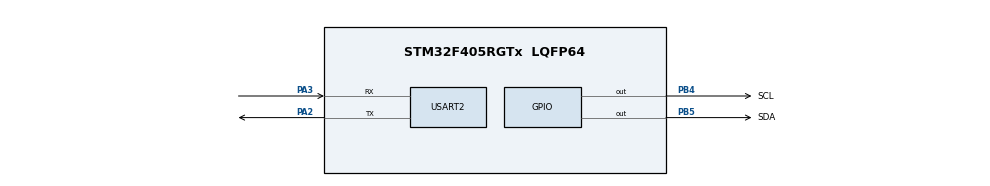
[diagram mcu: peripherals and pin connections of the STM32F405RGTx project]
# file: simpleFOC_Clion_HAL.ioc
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Mcu.Family=STM32F4
Mcu.Name=STM32F405RGTx
Mcu.Package=LQFP64
NVIC.PriorityGroup=NVIC_PRIORITYGROUP_4
NVIC.USART2_IRQn=true\:0\:0\:false\:false\:true\:true\:true\:true
PA13.Mode=Serial_Wire
PA13.Signal=SYS_JTMS-SWDIO
PA14.Mode=Serial_Wire
PA14.Signal=SYS_JTCK-SWCLK
PA2.Mode=Asynchronous
PA2.Signal=USART2_TX
PA3.Mode=Asynchronous
PA3.Signal=USART2_RX
PB4.GPIO_Label=SCL
PB4.GPIO_ModeDefaultOutputPP=GPIO_MODE_OUTPUT_PP
PB4.GPIO_PuPd=GPIO_PULLUP
PB4.GPIO_Speed=GPIO_SPEED_FREQ_VERY_HIGH
PB4.Signal=GPIO_Output
PB5.GPIO_Label=SDA
PB5.GPIO_ModeDefaultOutputPP=GPIO_MODE_OUTPUT_PP
PB5.GPIO_PuPd=GPIO_PULLUP
PB5.GPIO_Speed=GPIO_SPEED_FREQ_VERY_HIGH
PB5.Signal=GPIO_Output
PH0-OSC_IN.Mode=HSE-External-Oscillator
PH0-OSC_IN.Signal=RCC_OSC_IN
PH1-OSC_OUT.Mode=HSE-External-Oscillator
PH1-OSC_OUT.Signal=RCC_OSC_OUT
ProjectManager.HeapSize=0x200
ProjectManager.StackSize=0x400
ProjectManager.TargetToolchain=STM32CubeIDE
RCC.48MHZClocksFreq_Value=84000000
RCC.AHBFreq_Value=168000000
RCC.APB1CLKDivider=RCC_HCLK_DIV4
RCC.APB1Freq_Value=42000000
RCC.APB1TimFreq_Value=84000000
RCC.APB2CLKDivider=RCC_HCLK_DIV2
RCC.APB2Freq_Value=84000000
RCC.APB2TimFreq_Value=168000000
RCC.CortexFreq_Value=168000000
RCC.HCLKFreq_Value=168000000
RCC.HSE_VALUE=8000000
RCC.HSI_VALUE=16000000
RCC.LSE_VALUE=32768
RCC.PLLM=4
RCC.PLLN=168
RCC.PLLSourceVirtual=RCC_PLLSOURCE_HSE
RCC.SYSCLKFreq_VALUE=168000000
RCC.SYSCLKSource=RCC_SYSCLKSOURCE_PLLCLK
RCC.VCOOutputFreq_Value=336000000
USART2.VirtualMode=VM_ASYNC
board=custom

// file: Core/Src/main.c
/* USER CODE BEGIN Header */
/**
  ******************************************************************************
  * @file           : main.c
  * @brief          : Main program body
  ******************************************************************************
  * @attention
  *
  * Copyright (c) 2023 STMicroelectronics.
  * All rights reserved.
  *
  * This software is licensed under terms that can be found in the LICENSE file
  * in the root directory of this software component.
  * If no LICENSE file comes with this software, it is provided AS-IS.
  *
  ******************************************************************************
  */
/* USER CODE END Header */
#include "main.h"
#include "usart.h"
#include "gpio.h"

/* USER CODE BEGIN Includes */
#include "retarget.h"
#include "iic.h"
#include "sensor.h"
#include "as5600.h"
#include "BLDCMotor.h"
#include "lowpass_filter.h"
#include "pid.h"
#include "FOCMotor.h"
/* USER CODE END Includes */

/* USER CODE BEGIN PTD */
extern uint8_t aRxBuffer;
/* USER CODE END PTD */

void SystemClock_Config (void);

int main (void)
{

    /* MCU Configuration--------------------------------------------------------*/

    /* Reset of all peripherals, Initializes the Flash interface and the Systick. */
    HAL_Init ();

    /* Configure the system clock */
    SystemClock_Config ();

    /* Initialize all configured peripherals */
    MX_GPIO_Init ();
    MX_USART2_UART_Init ();
    /* USER CODE BEGIN 2 */
    RetargetInit (&huart2);
    HAL_Delay (100);
    sensor_init ();
    LPF_init ();
    PID_init ();

    voltage_power_supply = 12;          // V 电源电压
    pole_pairs = 10;                    // 电机极对数，按照实际设置，虽然可以上电检测但有失败的概率
    voltage_sensor_align = 2;           // V 航模电机设置的值小一点比如0.5-1，云台电机设置的大一点比如2-3
    voltage_limit = 6;                  // V，主要为限制电机最大电流，最大值需小于12/1.732=6.9
    velocity_limit = 20;                // rad/s 角度模式时限制最大转速，力矩模式和速度模式不起作用
    current_limit = 50;                 // A，foc_current和dc_current模式限制电流，不能为0。速度模式和位置模式起作用
    torque_controller = Type_voltage;   // 当前只有电压模式
    controller = Type_velocity;         // Type_angle; //Type_torque; //Type_velocity
    PID_velocity.P = 0.5;               // 0.5, 速度环PI参数，只用P参数方便快速调试
    PID_velocity.I = 0.2;               // 0.2
    P_angle.P = 20;                     // 位置环参数，只需P参数，一般不需要改动
    PID_velocity.output_ramp = 20;      // 速度爬升斜率，如果不需要可以设置为0
    LPF_velocity.Tf = 0.0001;           // Tf设置小一点，配合爬升斜率设置，速度切换更平稳；如果没有爬升模式的斜率限制，Tf太小电机容易抖动，可设置为0.02。
    target = 0;

    Motor_init ();
    Motor_initFOC (0, CCW); //(0,UNKNOWN);  //(1.1,CW); 第一次先获得偏移角和方向，填入代码编译后再下载，以后可以跳过零点校准
    printf ("Motor ready.\r\n");
    /* USER CODE END 2 */

    /* Infinite loop */
    /* USER CODE BEGIN WHILE */
    // HAL_RCC_GetHCLKFreq()/1000 1ms中断一次，即HAL_Delay函数延时基准为1ms
    // HAL_RCC_GetHCLKFreq()/100000  10us中断一次，即HAL_Delay函数延时基准为10us
    // HAL_RCC_GetHCLKFreq()/1000000 1us中断一次，即HAL_Delay函数延时基准为1us
    HAL_SYSTICK_Config (HAL_RCC_GetHCLKFreq () / 1000000);  // 配置并启动系统滴答定时器
    HAL_UART_Receive_IT (&huart2, (uint8_t *) &aRxBuffer, 1);
    while (1)
    {

//        printf ("%d\r\n", getRawCount ());
        move (target);
        loopFOC ();
        commander_run ();
        /* USER CODE END WHILE */

        /* USER CODE BEGIN 3 */
//        HAL_GPIO_TogglePin(LED_GPIO_Port, LED_Pin);
//        HAL_Delay(10000);
    }
    /* USER CODE END 3 */
}

void SystemClock_Config (void)
{
    RCC_OscInitTypeDef RCC_OscInitStruct = {0};
    RCC_ClkInitTypeDef RCC_ClkInitStruct = {0};

    /** Configure the main internal regulator output voltage
    */
    __HAL_RCC_PWR_CLK_ENABLE();
    __HAL_PWR_VOLTAGESCALING_CONFIG(PWR_REGULATOR_VOLTAGE_SCALE1);

    /** Initializes the RCC Oscillators according to the specified parameters
    * in the RCC_OscInitTypeDef structure.
    */
    RCC_OscInitStruct.OscillatorType = RCC_OSCILLATORTYPE_HSE;
    RCC_OscInitStruct.HSEState = RCC_HSE_ON;
    RCC_OscInitStruct.PLL.PLLState = RCC_PLL_ON;
    RCC_OscInitStruct.PLL.PLLSource = RCC_PLLSOURCE_HSE;
    RCC_OscInitStruct.PLL.PLLM = 4;
    RCC_OscInitStruct.PLL.PLLN = 168;
    RCC_OscInitStruct.PLL.PLLP = RCC_PLLP_DIV2;
    RCC_OscInitStruct.PLL.PLLQ = 4;
    if (HAL_RCC_OscConfig (&RCC_OscInitStruct) != HAL_OK)
    {
        Error_Handler ();
    }

    /** Initializes the CPU, AHB and APB buses clocks
    */
    RCC_ClkInitStruct.ClockType = RCC_CLOCKTYPE_HCLK | RCC_CLOCKTYPE_SYSCLK
                                  | RCC_CLOCKTYPE_PCLK1 | RCC_CLOCKTYPE_PCLK2;
    RCC_ClkInitStruct.SYSCLKSource = RCC_SYSCLKSOURCE_PLLCLK;
    RCC_ClkInitStruct.AHBCLKDivider = RCC_SYSCLK_DIV1;
    RCC_ClkInitStruct.APB1CLKDivider = RCC_HCLK_DIV4;
    RCC_ClkInitStruct.APB2CLKDivider = RCC_HCLK_DIV2;

    if (HAL_RCC_ClockConfig (&RCC_ClkInitStruct, FLASH_LATENCY_5) != HAL_OK)
    {
        Error_Handler ();
    }
}

void Error_Handler (void)
{
    /* USER CODE BEGIN Error_Handler_Debug */
    /* User can add his own implementation to report the HAL error return state */
    __disable_irq ();
    while (1)
    {
    }
    /* USER CODE END Error_Handler_Debug */
}
